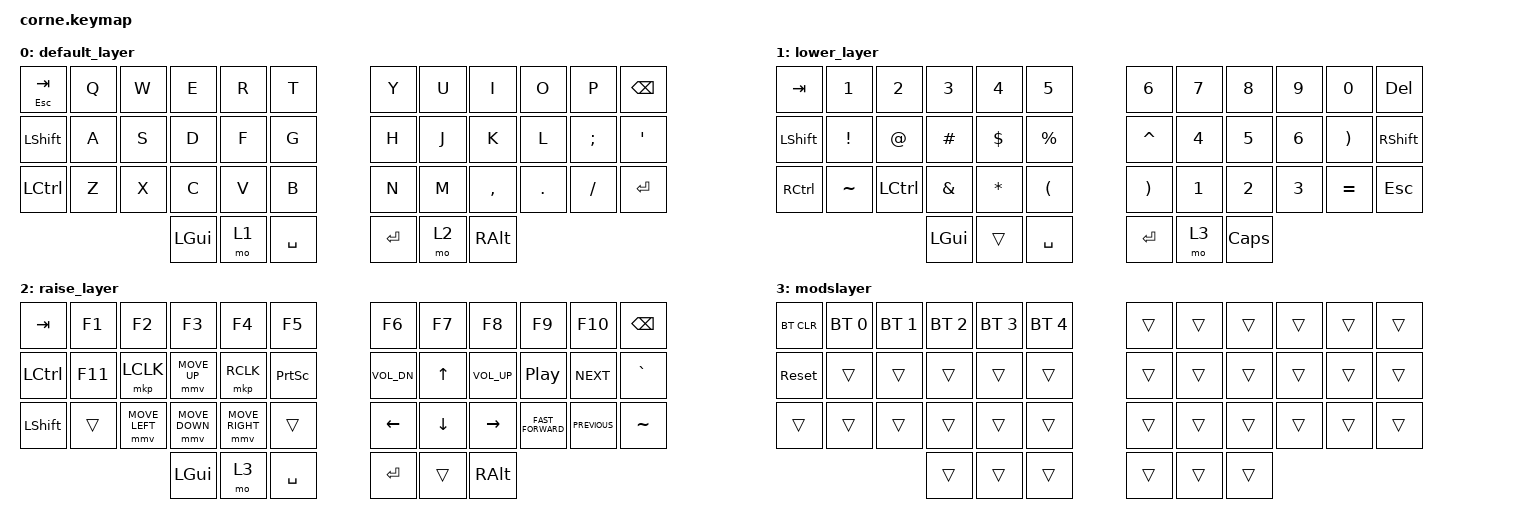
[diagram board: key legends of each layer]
/*
 * Copyright (c) 2020 The ZMK Contributors
 *
 * SPDX-License-Identifier: MIT
 */

#include <behaviors.dtsi>
#include <dt-bindings/zmk/bt.h>
#include <dt-bindings/zmk/keys.h>
#include <dt-bindings/zmk/pointing.h>

/ {
    keymap {
        compatible = "zmk,keymap";

        default_layer {
            // -----------------------------------------------------------------------------------------
            // |  TAB |  Q  |  W  |  E  |  R  |  T  |   |  Y  |  U   |  I  |  O  |  P  | BSPC |
            // | CTRL |  A  |  S  |  D  |  F  |  G  |   |  H  |  J   |  K  |  L  |  ;  |  '   |
            // | SHFT |  Z  |  X  |  C  |  V  |  B  |   |  N  |  M   |  ,  |  .  |  /  | ESC  |
            //                    | GUI | LWR | SPC |   | ENT | RSE  | ALT |

            bindings = <
&mt ESCAPE TAB  &kp Q  &kp W  &kp E         &kp R  &kp T        &kp Y      &kp U  &kp I      &kp O    &kp P     &kp BSPC
&kp LEFT_SHIFT  &kp A  &kp S  &kp D         &kp F  &kp G        &kp H      &kp J  &kp K      &kp L    &kp SEMI  &kp SQT
&kp LCTRL       &kp Z  &kp X  &kp C         &kp V  &kp B        &kp N      &kp M  &kp COMMA  &kp DOT  &kp FSLH  &kp ENTER
                              &kp LEFT_GUI  &mo 1  &kp SPACE    &kp ENTER  &mo 2  &kp RALT
            >;
        };

        lower_layer {
            // -----------------------------------------------------------------------------------------
            // |  TAB |  1  |  2  |  3  |  4  |  5  |   |  6  |  7  |  8  |  9  |  0  | BSPC |
            // | BTCLR| BT1 | BT2 | BT3 | BT4 | BT5 |   | LFT | DWN |  UP | RGT |     |      |
            // | SHFT |     |     |     |     |     |   |     |     |     |     |     |      |
            //                    | GUI |     | SPC |   | ENT |     | ALT |

            bindings = <
&kp TAB         &kp N1           &kp N2       &kp N3         &kp N4        &kp N5                  &kp N6                 &kp N7        &kp N8        &kp N9        &kp N0                 &kp DEL
&kp LEFT_SHIFT  &kp EXCLAMATION  &kp AT_SIGN  &kp HASH       &kp DOLLAR    &kp PERCENT             &kp CARET              &kp NUMBER_4  &kp N5        &kp NUMBER_6  &kp RIGHT_PARENTHESIS  &kp RIGHT_SHIFT
&kp RCTRL       &kp TILDE        &kp LCTRL    &kp AMPERSAND  &kp ASTERISK  &kp LEFT_PARENTHESIS    &kp RIGHT_PARENTHESIS  &kp NUMBER_1  &kp NUMBER_2  &kp NUMBER_3  &kp EQUAL              &kp ESCAPE
                                              &kp LGUI       &trans        &kp SPACE               &kp ENTER              &mo 3         &kp CLCK
            >;
        };

        raise_layer {
            // -----------------------------------------------------------------------------------------
            // |  TAB |  !  |  @  |  #  |  $  |  %  |   |  ^  |  &  |  *  |  (  |  )  | BSPC |
            // | CTRL |     |     |     |     |     |   |  -  |  =  |  [  |  ]  |  \  |  `   |
            // | SHFT |     |     |     |     |     |   |  _  |  +  |  {  |  }  | "|" |  ~   |
            //                    | GUI |     | SPC |   | ENT |     | ALT |

            bindings = <
&kp TAB    &kp F1   &kp F2          &kp F3          &kp F4           &kp F5             &kp F6        &kp F7        &kp F8           &kp F9              &kp F10         &kp BSPC
&kp LCTRL  &kp F11  &mkp LCLK       &mmv MOVE_UP    &mkp RCLK        &kp PRINTSCREEN    &kp C_VOL_DN  &kp UP_ARROW  &kp C_VOLUME_UP  &kp C_PLAY_PAUSE    &kp C_NEXT      &kp GRAVE
&kp LSHFT  &trans   &mmv MOVE_LEFT  &mmv MOVE_DOWN  &mmv MOVE_RIGHT  &trans             &kp LEFT      &kp DOWN      &kp RIGHT        &kp C_FAST_FORWARD  &kp C_PREVIOUS  &kp TILDE
                                    &kp LGUI        &mo 3            &kp SPACE          &kp ENTER     &trans        &kp RALT
            >;
        };

        modslayer {
            bindings = <
&bt BT_CLR  &bt BT_SEL 0  &bt BT_SEL 1  &bt BT_SEL 2  &bt BT_SEL 3  &bt BT_SEL 4    &trans  &trans  &trans  &trans  &trans  &trans
&sys_reset  &trans        &trans        &trans        &trans        &trans          &trans  &trans  &trans  &trans  &trans  &trans
&trans      &trans        &trans        &trans        &trans        &trans          &trans  &trans  &trans  &trans  &trans  &trans
                                        &trans        &trans        &trans          &trans  &trans  &trans
            >;
        };
    };
};
